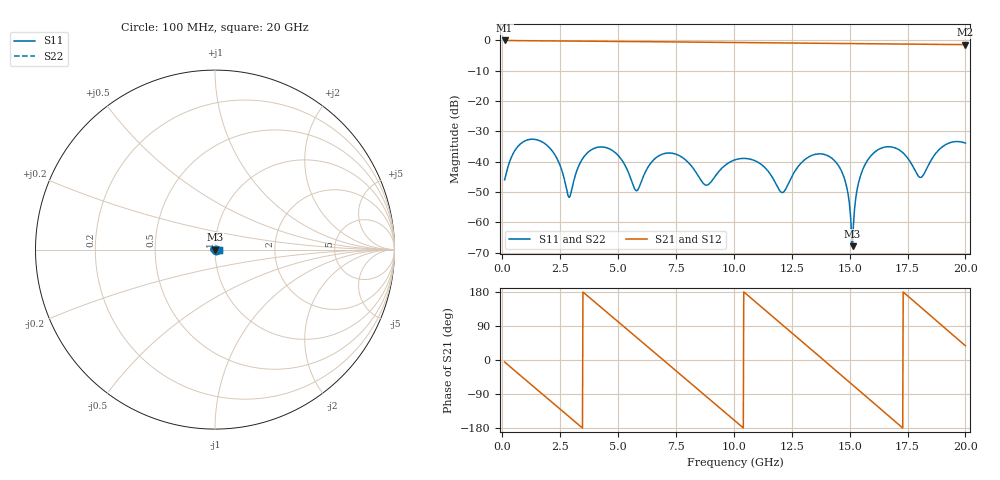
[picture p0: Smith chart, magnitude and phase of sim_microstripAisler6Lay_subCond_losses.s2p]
#  Hz  S  RI  R  50
!  Microstrip line with via fence on Aisler 6 layer HD stackup
!  Line length = combLineTabbed6G_2xthru (54.2mm) - SMA_Rosenbergerv2 fixture (28.9mm) = 23.5mm
!  Substrate and Conductor losses
!  Paramter List:
!  lossySubstrate = 1, Flag that indicates if substrate losses were enabled
!  lossyCondSheet = 1, Flag that indicates if the zero thickness conducting sheet model was used
!  w50 = 0.65, Width of the 50Ohm line
!  w50gndfree = 1.225, Seperation between RF trace edges to GND planes
!  lineLength = 23.5, Length of the microstrip transmission line
!  portLength = 8,
!  measPlaneShiftP1 = 8,
!  measPlaneShiftP2 = 8,
!  feedShift = 3.74741,
!  numViasX = 55,
!  pcbX = 39.5,
!  pcbY = 25,
!  stackupL01th = 0,
!  stackupSub01th = 0.13626,
!  stackupL02th = 0,
!  stackupSub02th = 0.2,
!  stackupL03th = 0,
!  viaD03 = 0.3,
!  viaCpD03 = 0.6,
!  viaClearD03 = 1,
!  viaPitch = 0.6,
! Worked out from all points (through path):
!   1001 points, 100 MHz to 20 GHz, reference 50 ohm
!   highest |S21| = -0.01 dB at 100 MHz (marker M1); lowest = -1.4 dB at 20 GHz (marker M2)
!   group delay of S21, straight-line fit = 145 ps
!   lowest |S11| = -67.8 dB at 15.12 GHz (marker M3), VSWR 1.00, Z = 50 + j0.0272 ohm
!   |S11| at or under -10 dB: start of sweep to end of sweep
!   |S22| runs from -67.6 to -32.6 dB; largest |S21 - S12| = 1.3e-05
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1e8  0.00356 -0.00354  0.9942 -0.092  0.9942 -0.092  0.00353 -0.00354
7.766e8  -0.0155 -0.012  0.7524 -0.6444  0.7524 -0.6444  -0.0155 -0.012
1.7517e9  -0.0161 0.0133  -0.0198 -0.9851  -0.0198 -0.9851  -0.016 0.0133
2.886e9  0.00245 -0.00085  -0.8435 -0.4934  -0.8435 -0.4934  0.00238 -0.000901
3.4233e9  -0.00733 -0.00757  -0.9721 -0.0425  -0.9721 -0.0425  -0.00741 -0.00752
4.2392e9  -0.0166 0.00577  -0.7457 0.6166  -0.7457 0.6166  -0.0165 0.00584
5.1148e9  -6.32e-05 0.0113  -0.0857 0.9577  -0.0857 0.9577  -2.15e-05 0.0112
5.7914e9  0.00287 -0.00169  0.4764 0.8296  0.4764 0.8296  0.00277 -0.00174
6.7466e9  -0.0124 -0.000266  0.9329 0.1761  0.9329 0.1761  -0.0124 -0.000148
7.5426e9  -0.00515 0.0121  0.8123 -0.4792  0.8123 -0.4792  -0.00503 0.0121
8.4779e9  0.00564 0.000963  0.1781 -0.9186  0.1781 -0.9186  0.00555 0.000873
1.005e10  -0.00594 0.00896  -0.8708 -0.3059  -0.8708 -0.3059  -0.00582 0.00903
1.08858e10  0.00758 0.00725  -0.8362 0.3741  -0.8362 0.3741  0.00761 0.00711
1.18609e10  0.00116 -0.00386  -0.237 0.8768  -0.237 0.8769  0.00104 -0.0038
1.33733e10  0.00747 0.0103  0.8045 0.3959  0.8045 0.3959  0.00763 0.0103
1.45673e10  0.00686 -0.0042  0.7158 -0.5249  0.7158 -0.5249  0.0068 -0.00424
1.51245e10  0.000301 0.000272  0.3672 -0.8039  0.3672 -0.8039  0.000317 0.000315
1.5622e10  0.00224 0.00798  -0.024 -0.8799  -0.024 -0.8799  0.00235 0.00796
1.66966e10  0.0173 0.00381  -0.7404 -0.4621  -0.7404 -0.4621  0.0172 0.00363
1.80299e10  0.00554 0.000356  -0.6782 0.5353  -0.6782 0.5353  0.00556 0.000479
1.85672e10  0.0084 0.00763  -0.3408 0.7905  -0.3408 0.7905  0.00854 0.00761
2e10  0.0202 -0.00161  0.676 0.5185  0.676 0.5185  0.02 -0.0017
